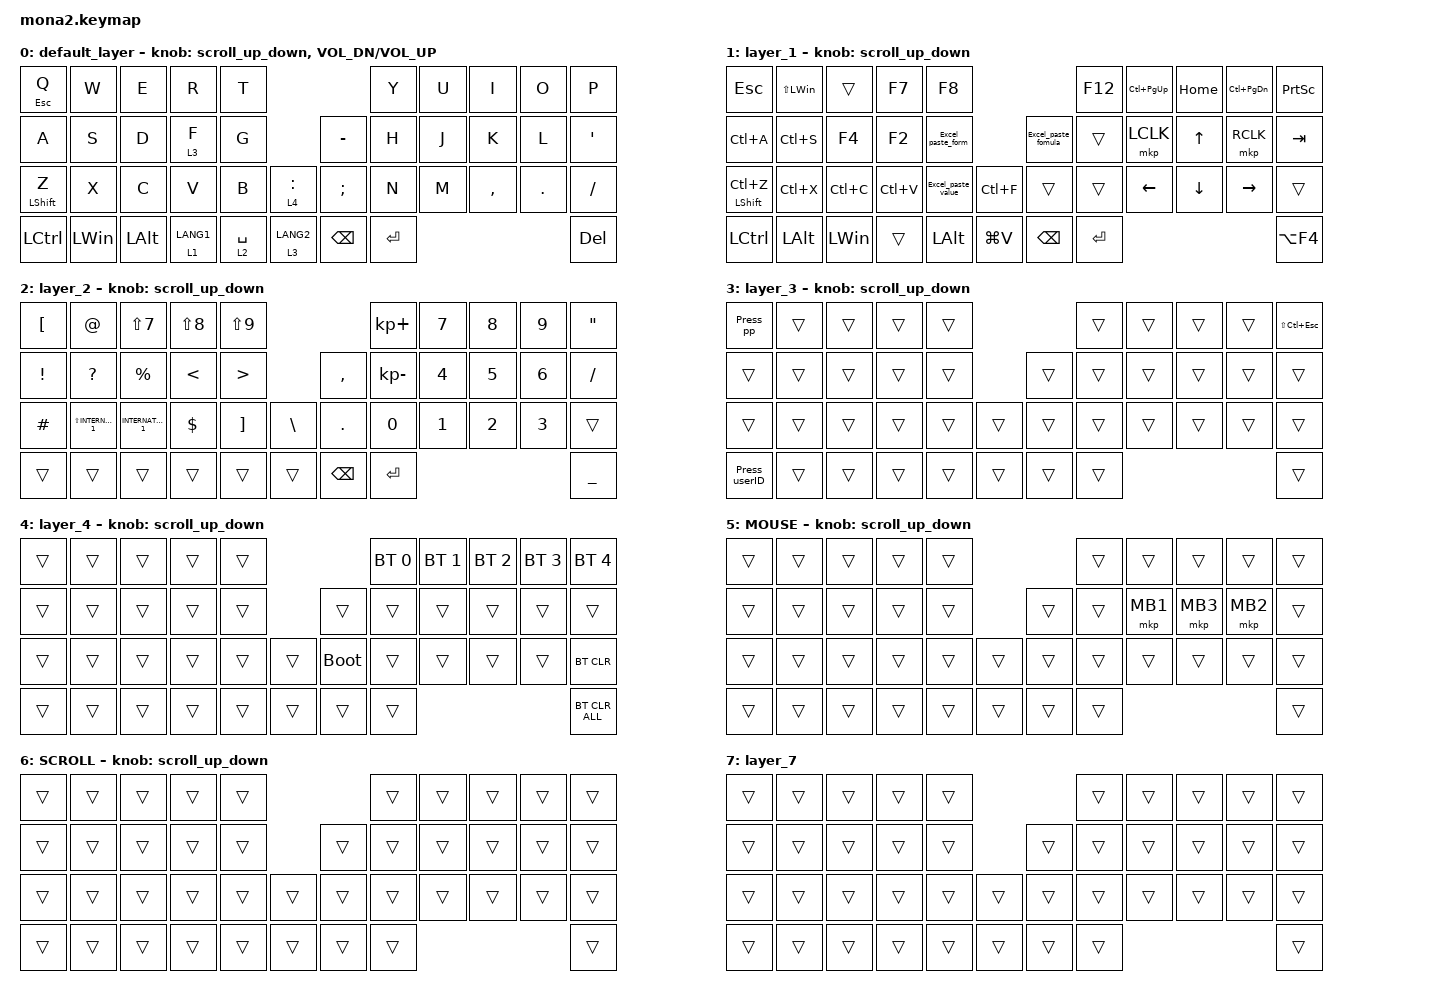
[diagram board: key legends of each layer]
#include <behaviors.dtsi>
#include <dt-bindings/zmk/bt.h>
#include <dt-bindings/zmk/keys.h>
#include <dt-bindings/zmk/pointing.h>

#define ZMK_POINTING_DEFAULT_SCRL_VAL 100
#define MOUSE 5
#define SCROLL 6

&mt {
    flavor = "balanced";
    quick-tap-ms = <0>;
};

/ {
    combos { compatible = "zmk,combos"; };

    macros {
        to_layer_0: to_layer_0 {
            compatible = "zmk,behavior-macro-one-param";
            #binding-cells = <1>;
            bindings = <&to 0 &macro_param_1to1 &kp MACRO_PLACEHOLDER>;
            label = "TO_LAYER_0";
        };

        Excel_paste_value: Excel_paste_value {
            compatible = "zmk,behavior-macro";
            #binding-cells = <0>;
            bindings = <&kp LEFT_ALT &kp H &kp V &kp V>;
            label = "EXCEL_PASTE_VALUE";
        };

        Excel_paste_fomula: Excel_pasete_fomula {
            compatible = "zmk,behavior-macro";
            #binding-cells = <0>;
            bindings = <&kp LEFT_ALT &kp H &kp V &kp F>;
            label = "EXCEL_PASETE_FOMULA";
        };

        Excel_paste_form: Excel_paste_form {
            compatible = "zmk,behavior-macro";
            #binding-cells = <0>;
            bindings = <&kp LEFT_ALT &kp H &kp V &kp R>;
            label = "EXCEL_PASTE_FORM";
        };

        Press_userID: Press_userID {
            compatible = "zmk,behavior-macro";
            #binding-cells = <0>;
            bindings = <&kp LS(S) &kp H &kp U &kp H &kp E &kp I &kp DOT &kp LS(H) &kp I &kp S &kp A &kp M &kp A &kp T &kp S &kp U &kp LEFT_BRACKET &kp K &kp A &kp G &kp O &kp M &kp E &kp DOT &kp C &kp O &kp M>;
            label = "PRESS_USERID";
        };

        Press_pp: Press_pp {
            compatible = "zmk,behavior-macro";
            #binding-cells = <0>;
            bindings = <&kp LS(S) &kp Y &kp U &kp H &kp E &kp I &kp LEFT_BRACKET &kp N1 &kp N2 &kp N3>;
            label = "PRESS_PP";
        };
    };

    behaviors {
        lt_to_layer_0: lt_to_layer_0 {
            compatible = "zmk,behavior-hold-tap";
            label = "LAYER_TAP_TO_0";
            bindings = <&mo>, <&to_layer_0>;

            #binding-cells = <2>;
            tapping-term-ms = <200>;
        };

        scroll_up_down: behavior_sensor_rotate_mouse_wheel_up_down {
            compatible = "zmk,behavior-sensor-rotate";
            #sensor-binding-cells = <0>;
            bindings = <&msc SCRL_UP>, <&msc SCRL_DOWN>;

            tap-ms = <20>;
        };
    };

    keymap {
        compatible = "zmk,keymap";

        default_layer {
            bindings = <
&mt ESCAPE Q      &kp W         &kp E         &kp R        &kp T                                      &kp Y      &kp U  &kp I      &kp O    &kp P
&kp A             &kp S         &kp D         &lt 3 F      &kp G                       &kp MINUS      &kp H      &kp J  &kp K      &kp L    &kp SQT
&mt LEFT_SHIFT Z  &kp X         &kp C         &kp V        &kp B        &lt 4 COLON    &kp SEMICOLON  &kp N      &kp M  &kp COMMA  &kp DOT  &kp SLASH
&kp LCTRL         &kp LEFT_WIN  &kp LEFT_ALT  &lt 1 LANG1  &lt 2 SPACE  &lt 3 LANG2    &kp BACKSPACE  &kp ENTER                             &kp DEL
            >;

            sensor-bindings =
                <&scroll_up_down>,
                <&inc_dec_kp C_VOL_DN C_VOL_UP>;
        };

        layer_1 {
            bindings = <
&kp ESCAPE            &kp LS(LEFT_WIN)  &trans        &kp F7     &kp F8                                                &kp F12    &kp LC(PAGE_UP)  &kp HOME  &kp LC(PAGE_DOWN)  &kp PRINTSCREEN
&kp LC(A)             &kp LC(S)         &kp F4        &kp F2     &Excel_paste_form                &Excel_paste_fomula  &trans     &mkp LCLK        &kp UP    &mkp RCLK          &kp TAB
&mt LEFT_SHIFT LC(Z)  &kp LC(X)         &kp LC(C)     &kp LC(V)  &Excel_paste_value  &kp LC(F)    &trans               &trans     &kp LEFT         &kp DOWN  &kp RIGHT          &trans
&kp LCTRL             &kp LEFT_ALT      &kp LEFT_WIN  &trans     &kp LEFT_ALT        &kp LG(V)    &kp BACKSPACE        &kp ENTER                                                &kp LA(F4)
            >;

            sensor-bindings = <&scroll_up_down>;
        };

        layer_2 {
            bindings = <
&kp LBKT         &kp AT_SIGN              &kp LS(N7)           &kp LS(N8)     &kp LS(N9)                                         &kp KP_PLUS   &kp N7  &kp N8  &kp N9  &kp DQT
&kp EXCLAMATION  &kp QUESTION             &kp PERCENT          &kp LESS_THAN  &kp GREATER_THAN                    &kp COMMA      &kp KP_MINUS  &kp N4  &kp N5  &kp N6  &kp FSLH
&kp HASH         &kp LS(INTERNATIONAL_1)  &kp INTERNATIONAL_1  &kp DLLR       &kp RIGHT_BRACKET  &kp BACKSLASH    &kp PERIOD     &kp N0        &kp N1  &kp N2  &kp N3  &trans
&trans           &trans                   &trans               &trans         &trans             &trans           &kp BACKSPACE  &kp ENTER                             &kp UNDER
            >;

            sensor-bindings = <&scroll_up_down>;
        };

        layer_3 {
            bindings = <
&Press_pp      &trans  &trans  &trans  &trans                    &trans  &trans  &trans  &trans  &kp LS(LC(ESCAPE))
&trans         &trans  &trans  &trans  &trans            &trans  &trans  &trans  &trans  &trans  &trans
&trans         &trans  &trans  &trans  &trans  &trans    &trans  &trans  &trans  &trans  &trans  &trans
&Press_userID  &trans  &trans  &trans  &trans  &trans    &trans  &trans                          &trans
            >;

            sensor-bindings = <&scroll_up_down>;
        };

        layer_4 {
            bindings = <
&trans  &trans  &trans  &trans  &trans                         &bt BT_SEL 0  &bt BT_SEL 1  &bt BT_SEL 2  &bt BT_SEL 3  &bt BT_SEL 4
&trans  &trans  &trans  &trans  &trans            &trans       &trans        &trans        &trans        &trans        &trans
&trans  &trans  &trans  &trans  &trans  &trans    &bootloader  &trans        &trans        &trans        &trans        &bt BT_CLR
&trans  &trans  &trans  &trans  &trans  &trans    &trans       &trans                                                  &bt BT_CLR_ALL
            >;

            sensor-bindings = <&scroll_up_down>;
        };

        MOUSE {
            bindings = <
&trans  &trans  &trans  &trans  &trans                    &trans  &trans    &trans    &trans    &trans
&trans  &trans  &trans  &trans  &trans            &trans  &trans  &mkp MB1  &mkp MB3  &mkp MB2  &trans
&trans  &trans  &trans  &trans  &trans  &trans    &trans  &trans  &trans    &trans    &trans    &trans
&trans  &trans  &trans  &trans  &trans  &trans    &trans  &trans                                &trans
            >;

            sensor-bindings = <&scroll_up_down>;
        };

        SCROLL {
            bindings = <
&trans  &trans  &trans  &trans  &trans                    &trans  &trans  &trans  &trans  &trans
&trans  &trans  &trans  &trans  &trans            &trans  &trans  &trans  &trans  &trans  &trans
&trans  &trans  &trans  &trans  &trans  &trans    &trans  &trans  &trans  &trans  &trans  &trans
&trans  &trans  &trans  &trans  &trans  &trans    &trans  &trans                          &trans
            >;

            sensor-bindings = <&scroll_up_down>;
        };

        layer_7 {
            bindings = <
&trans  &trans  &trans  &trans  &trans                    &trans  &trans  &trans  &trans  &trans
&trans  &trans  &trans  &trans  &trans            &trans  &trans  &trans  &trans  &trans  &trans
&trans  &trans  &trans  &trans  &trans  &trans    &trans  &trans  &trans  &trans  &trans  &trans
&trans  &trans  &trans  &trans  &trans  &trans    &trans  &trans                          &trans
            >;
        };
    };
};
